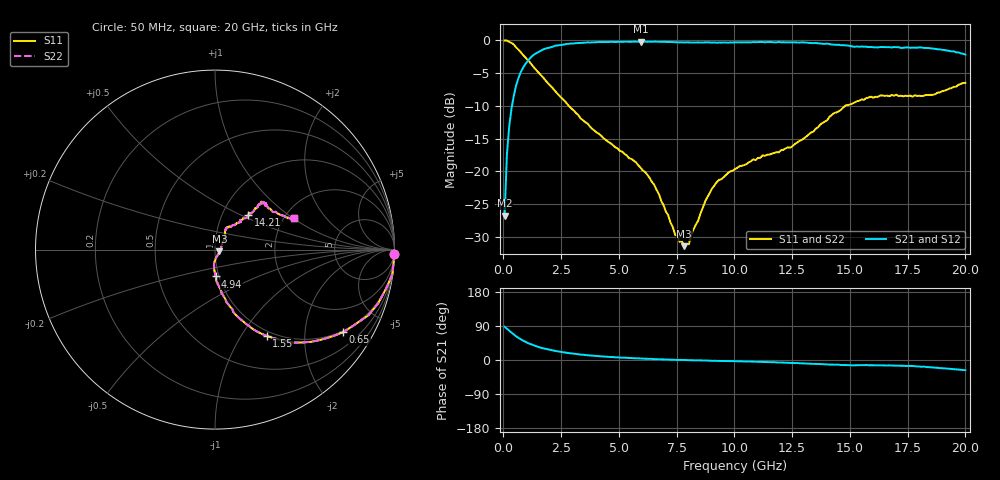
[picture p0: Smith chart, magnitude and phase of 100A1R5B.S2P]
!  American Technical Ceramics  Date:  3/13/98
!  One Norden Lane
!  Huntington Station,  NY.  11746-2102
!  Tel:  (516) 547-5700  Fax:  (516) 547-5748
!  Part Number  100A1R5B
!  Description: Porcelain, High Q, Low ESR
!  Application: Bypass, Coupling, Timing, Feedback
!  Tuning, Impedance Match, Blocking
# GHZ S DB R 50
! Freq  |S11|  S11 Ph  |S21|  S21 Ph  |S12|  S12 Ph  |S22|  S22 Ph
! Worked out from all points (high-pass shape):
!   201 points, 50 MHz to 20 GHz, reference 50 ohm
!   highest |S21| = -0.18 dB at 5.94 GHz (marker M1); lowest = -26.8 dB at 50 MHz (marker M2)
!   |S21| within 3 dB of the highest: 1.041 GHz to end of sweep
!   lowest |S11| = -31.5 dB at 7.83 GHz (marker M3), VSWR 1.05, Z = 52.5 - j1.06 ohm
!   |S11| at or under -10 dB: 2.827 GHz to 14.8 GHz (11.97 GHz wide, 136 % of centre)
!   |S22| runs from -31.5 to 0.0 dB; largest |S21 - S12| = 0
!   S11 on the Smith chart (normalised r, x): 50 MHz: -0, -83; 650 MHz: 0.95, -3.14; 1.55 GHz: 0.93, -1.30; 4.94 GHz: 0.96, -0.29; 14.21 GHz: 1.32, +0.56; 20 GHz: 2.26, +1.02
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0.05  0.00 -1.4  -26.78 87.8  -26.78 87.8  0.00 -1.4
0.15  -0.02 -8.2  -17.44 82.4  -17.44 82.4  -0.02 -8.2
0.25  -0.21 -13.2  -13.13 77.3  -13.13 77.3  -0.21 -13.2
0.45  -0.63 -23.1  -8.44 67.6  -8.44 67.6  -0.63 -23.1
0.65  -1.41 -32.8  -5.75 58.4  -5.75 58.4  -1.41 -32.8
1.05  -2.98 -46.9  -3.14 45.0  -3.14 45.0  -2.98 -46.9
1.55  -5.02 -59.1  -1.71 33.7  -1.71 33.7  -5.02 -59.1
2.34  -8.15 -71.6  -0.76 22.8  -0.76 22.8  -8.15 -71.6
3.44  -12.19 -81.5  -0.35 13.9  -0.35 13.9  -12.19 -81.5
4.94  -16.50 -88.9  -0.23 7.0  -0.23 7.0  -16.50 -88.9
5.94  -19.47 -92.6  -0.18 3.9  -0.18 3.9  -19.47 -92.6
6.73  -23.49 -92.0  -0.19 1.8  -0.19 1.8  -23.49 -92.0
7.43  -29.71 -61.8  -0.27 0.5  -0.27 0.5  -29.71 -61.8
7.83  -31.46 -22.1  -0.31 0.0  -0.31 0.0  -31.46 -22.1
8.03  -31.15 -0.8  -0.30 -0.5  -0.30 -0.5  -31.15 -0.8
9.03  -22.66 47.1  -0.33 -2.2  -0.33 -2.2  -22.66 47.1
10.03  -19.66 56.7  -0.28 -3.2  -0.28 -3.2  -19.66 56.7
13.42  -13.95 49.0  -0.42 -10.3  -0.42 -10.3  -13.95 49.0
14.21  -11.40 46.3  -0.62 -12.0  -0.62 -12.0  -11.40 46.3
16.71  -8.54 43.6  -1.02 -14.2  -1.02 -14.2  -8.54 43.6
18.5  -8.32 34.4  -1.20 -19.2  -1.20 -19.2  -8.32 34.4
20  -6.48 21.6  -2.16 -26.9  -2.16 -26.9  -6.48 21.6
